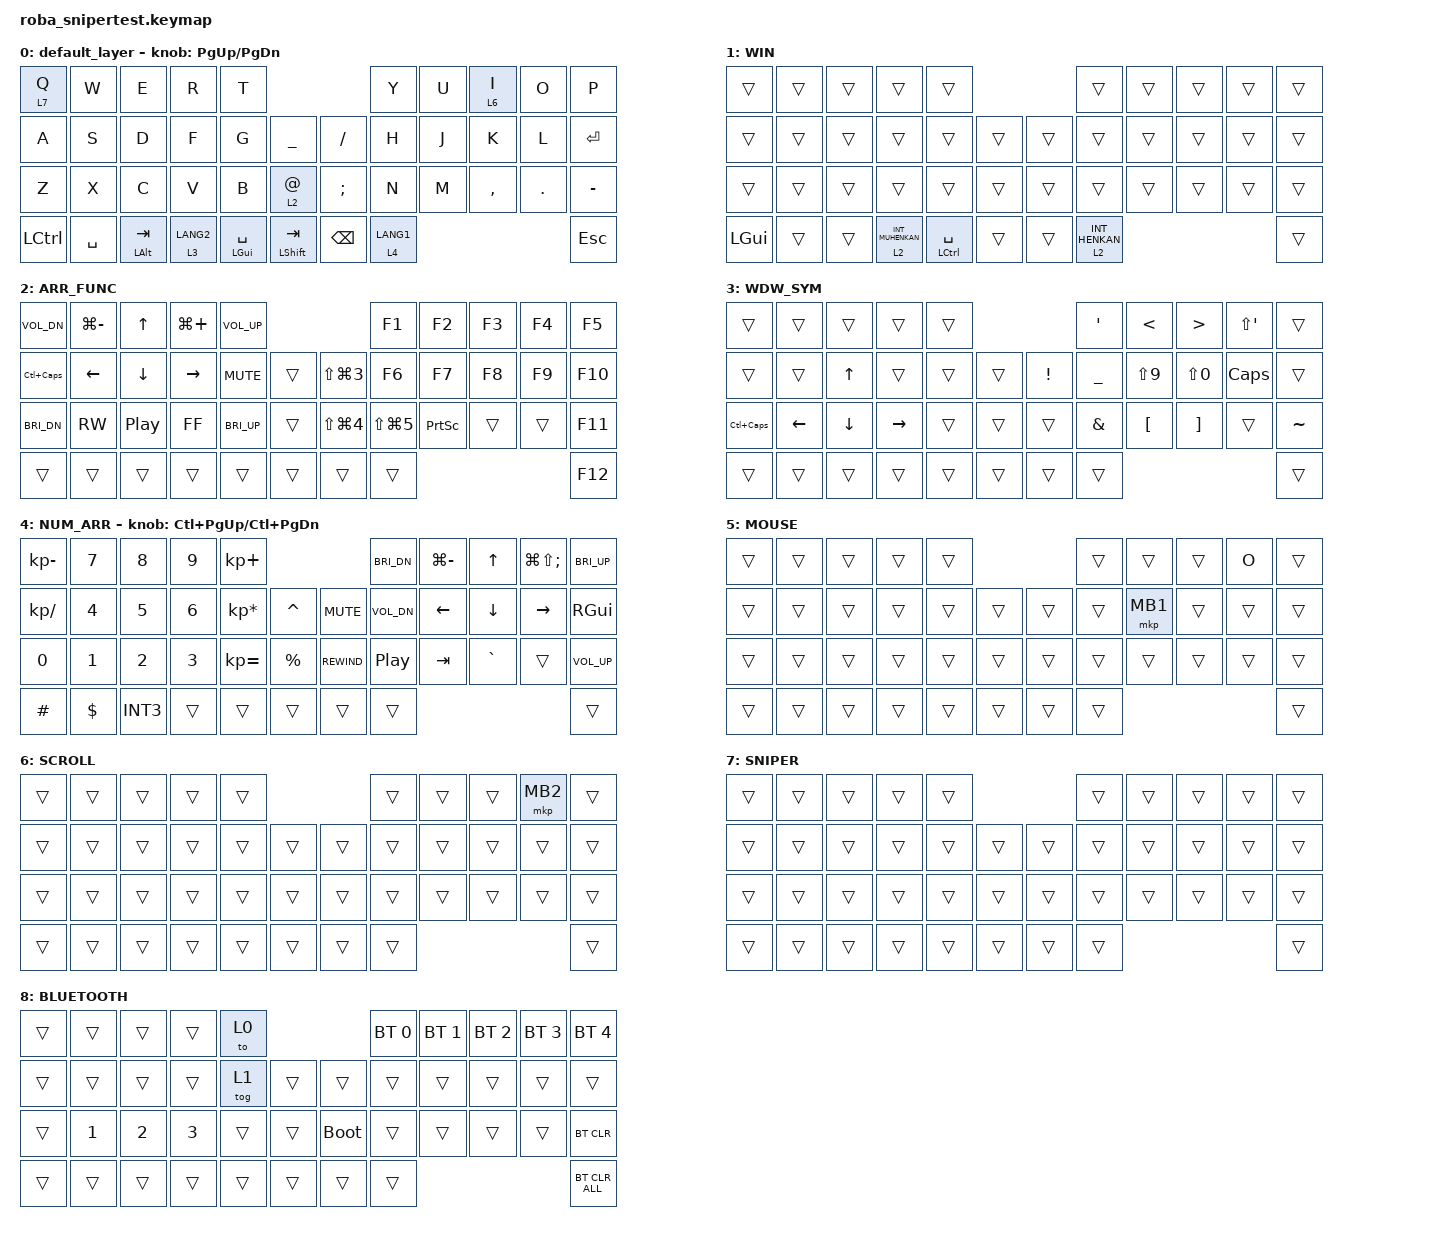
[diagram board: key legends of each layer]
#include <input/processors.dtsi>
#include <behaviors.dtsi>
#include <dt-bindings/zmk/bt.h>
#include <dt-bindings/zmk/keys.h>
#include <dt-bindings/zmk/pointing.h>

&mt {
    flavor = "balanced";
    quick-tap-ms = <0>;
};

&trackball {
    // automouse-layer = <5>;
    scroll-layers = <6>;
    sniper-layers = <7>;

    // arrows {
    //     layers = <3>;
    //     bindings =
    //         <&kp RIGHT_ARROW>,
    //         <&kp LEFT_ARROW>,
    //         <&kp UP_ARROW>,
    //         <&kp DOWN_ARROW>;
    //     tick = <10>;
    //     wait-ms = <5>;
    //     tap-ms = <5>;
    // };
};

&mkp_input_listener { input-processors = <&zip_temp_layer 5 10000>; };

/ {
    combos { compatible = "zmk,combos"; };

    macros {
        to_layer_0: to_layer_0 {
            compatible = "zmk,behavior-macro-one-param";
            #binding-cells = <1>;
            bindings = <&to 0 &macro_param_1to1 &kp MACRO_PLACEHOLDER>;
            label = "TO_LAYER_0";
        };
    };

    behaviors {
        lt_to_layer_0: lt_to_layer_0 {
            compatible = "zmk,behavior-hold-tap";
            label = "LAYER_TAP_TO_0";
            bindings = <&mo>, <&to_layer_0>;

            #binding-cells = <2>;
            tapping-term-ms = <200>;
        };
    };

    keymap {
        compatible = "zmk,keymap";

        default_layer {
            bindings = <
&lt 7 Q    &kp W      &kp E             &kp R                   &kp T                                                      &kp Y                   &kp U  &lt 6 I    &kp O    &kp P
&kp A      &kp S      &kp D             &kp F                   &kp G               &kp UNDER               &kp SLASH      &kp H                   &kp J  &kp K      &kp L    &kp ENTER
&kp Z      &kp X      &kp C             &kp V                   &kp B               &lt 2 AT                &kp SEMI       &kp N                   &kp M  &kp COMMA  &kp DOT  &kp MINUS
&kp LCTRL  &kp SPACE  &mt LEFT_ALT TAB  &lt_to_layer_0 3 LANG2  &mt LEFT_GUI SPACE  &mt LEFT_SHIFT TAB      &kp BACKSPACE  &lt_to_layer_0 4 LANG1                             &kp ESCAPE
            >;

            sensor-bindings = <&inc_dec_kp PG_UP PAGE_DOWN>;
        };

        WIN {
            bindings = <
&trans        &trans  &trans  &trans              &trans                                      &trans            &trans  &trans  &trans  &trans
&trans        &trans  &trans  &trans              &trans                  &trans      &trans  &trans            &trans  &trans  &trans  &trans
&trans        &trans  &trans  &trans              &trans                  &trans      &trans  &trans            &trans  &trans  &trans  &trans
&kp LEFT_GUI  &trans  &trans  &lt 2 INT_MUHENKAN  &mt LEFT_CONTROL SPACE  &trans      &trans  &lt 2 INT_HENKAN                          &trans
            >;
        };

        ARR_FUNC {
            bindings = <
&kp C_VOL_DN  &kp LG(MINUS)   &kp UP_ARROW  &kp LG(PLUS)     &kp C_VOL_UP                                    &kp F1                &kp F2           &kp F3  &kp F4  &kp F5
&kp LC(CAPS)  &kp LEFT_ARROW  &kp DOWN      &kp RIGHT_ARROW  &kp C_MUTE    &trans      &kp LS(LG(NUMBER_3))  &kp F6                &kp F7           &kp F8  &kp F9  &kp F10
&kp C_BRI_DN  &kp C_RW        &kp C_PP      &kp C_FF         &kp C_BRI_UP  &trans      &kp LS(LG(NUMBER_4))  &kp LS(LG(NUMBER_5))  &kp PRINTSCREEN  &trans  &trans  &kp F11
&trans        &trans          &trans        &trans           &trans        &trans      &trans                &trans                                                 &kp F12
            >;
        };

        WDW_SYM {
            bindings = <
&trans        &trans    &trans    &trans     &trans                        &kp SQT    &kp LESS_THAN     &kp GREATER_THAN   &kp LS(SQT)  &trans
&trans        &trans    &kp UP    &trans     &trans  &trans      &kp EXCL  &kp UNDER  &kp LS(N9)        &kp LS(N0)         &kp CAPS     &trans
&kp LC(CAPS)  &kp LEFT  &kp DOWN  &kp RIGHT  &trans  &trans      &trans    &kp AMPS   &kp LEFT_BRACKET  &kp RIGHT_BRACKET  &trans       &kp TILDE
&trans        &trans    &trans    &trans     &trans  &trans      &trans    &trans                                                       &trans
            >;
        };

        NUM_ARR {
            bindings = <
&kp KP_MINUS   &kp NUMBER_7  &kp NUMBER_8  &kp NUMBER_9  &kp KP_PLUS                                     &kp C_BRI_DN      &kp LG(MINUS)   &kp UP_ARROW    &kp LG(LS(SEMI))  &kp C_BRI_UP
&kp KP_DIVIDE  &kp NUMBER_4  &kp NUMBER_5  &kp NUMBER_6  &kp KP_MULTIPLY  &kp CARET        &kp K_MUTE    &kp C_VOL_DN      &kp LEFT_ARROW  &kp DOWN_ARROW  &kp RIGHT_ARROW   &kp RIGHT_GUI
&kp NUMBER_0   &kp NUMBER_1  &kp NUMBER_2  &kp NUMBER_3  &kp KP_EQUAL     &kp PERCENT      &kp C_REWIND  &kp C_PLAY_PAUSE  &kp TAB         &kp GRAVE       &trans            &kp C_VOL_UP
&kp HASH       &kp DOLLAR    &kp INT3      &trans        &trans           &trans           &trans        &trans                                                              &trans
            >;

            sensor-bindings = <&inc_dec_kp LC(PAGE_UP) LC(PAGE_DOWN)>;
        };

        MOUSE {
            bindings = <
&trans  &trans  &trans  &trans  &trans                      &trans  &trans    &trans  &kp O   &trans
&trans  &trans  &trans  &trans  &trans  &trans      &trans  &trans  &mkp MB1  &trans  &trans  &trans
&trans  &trans  &trans  &trans  &trans  &trans      &trans  &trans  &trans    &trans  &trans  &trans
&trans  &trans  &trans  &trans  &trans  &trans      &trans  &trans                            &trans
            >;
        };

        SCROLL {
            bindings = <
&trans  &trans  &trans  &trans  &trans                      &trans  &trans  &trans  &mkp MB2  &trans
&trans  &trans  &trans  &trans  &trans  &trans      &trans  &trans  &trans  &trans  &trans    &trans
&trans  &trans  &trans  &trans  &trans  &trans      &trans  &trans  &trans  &trans  &trans    &trans
&trans  &trans  &trans  &trans  &trans  &trans      &trans  &trans                            &trans
            >;
        };

        SNIPER {
            bindings = <
&trans  &trans  &trans  &trans  &trans                      &trans  &trans  &trans  &trans  &trans
&trans  &trans  &trans  &trans  &trans  &trans      &trans  &trans  &trans  &trans  &trans  &trans
&trans  &trans  &trans  &trans  &trans  &trans      &trans  &trans  &trans  &trans  &trans  &trans
&trans  &trans  &trans  &trans  &trans  &trans      &trans  &trans                          &trans
            >;
        };

        BLUETOOTH {
            bindings = <
&trans  &trans        &trans        &trans        &to 0                            &bt BT_SEL 0  &bt BT_SEL 1  &bt BT_SEL 2  &bt BT_SEL 3  &bt BT_SEL 4
&trans  &trans        &trans        &trans        &tog 1  &trans      &trans       &trans        &trans        &trans        &trans        &trans
&trans  &kp NUMBER_1  &kp NUMBER_2  &kp NUMBER_3  &trans  &trans      &bootloader  &trans        &trans        &trans        &trans        &bt BT_CLR
&trans  &trans        &trans        &trans        &trans  &trans      &trans       &trans                                                  &bt BT_CLR_ALL
            >;
        };
    };
};
